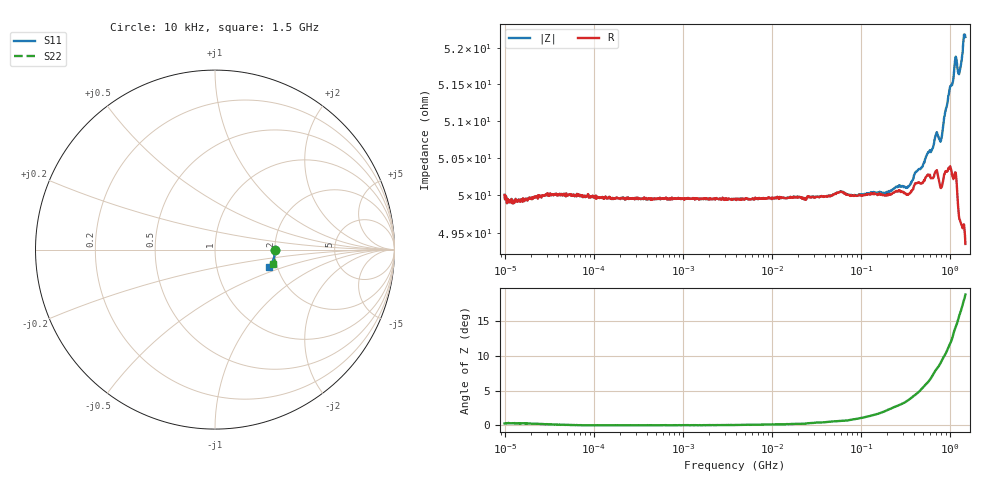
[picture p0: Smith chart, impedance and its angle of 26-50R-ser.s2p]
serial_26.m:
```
clear all
close all
clc

%% Load data
sparam = sparameters('mereni/26-50R-ser.s2p');

Z0 = sparam.Impedance;
f=sparam.Frequencies;
s_params = sparam.Parameters;

abcd_params = s2abcd(s_params, Z0);

B_param = reshape(abcd_params(1,2,:), [],1);

%% Fit
Lx = 2e-9;
Rx = 49.95;

ZL_fit = 1i*2*pi()*f*Lx+Rx;

%% Plot
fig = figure('Name','Impedance','NumberTitle','off');
loglog(f/1e9,abs(B_param)/1e3,  'r', f/1e9,abs(ZL_fit)/1e3,'b')
legend('ZNB','Model','Location', 'Best')
xlabel('f [GHz]'), ylabel('|Z| [k\Omega]')
grid on
saveas(fig, 'res/26.png')
```
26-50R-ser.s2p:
#  HZ  S  DB  R  50.00
! Rohde & Schwarz Vector Network Analyzer
! Rohde-Schwarz,ZNB8-4Port,1334333044101560,3.32
! Created: UTC 3/21/2023, 5:13:50 PM
! freq[Hz]  db:S11  ang:S11  db:S41  ang:S41  db:S14  ang:S14  db:S44  ang:S44
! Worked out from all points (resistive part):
!   1001 points, 10 kHz to 1.5 GHz, reference 50 ohm
!   read as one part in series: R = 49.9 ohm at 10.61 kHz
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10000  -9.56 -0.3  -3.52 -0.2  -3.52 -0.2  -9.51 -0.1
20689.1  -9.60 0.1  -3.54 -0.1  -3.53 -0.1  -9.59 0.1
3872983  -9.54 -0.1  -3.52 -0.0  -3.51 -0.0  -9.55 -0.1
6.765619e7  -9.55 -0.8  -3.53 -0.7  -3.53 -0.8  -9.55 -0.7
1.503508e8  -9.55 -1.9  -3.52 -1.7  -3.52 -1.8  -9.53 -1.9
2.761126e8  -9.58 -3.7  -3.54 -3.2  -3.54 -3.2  -9.53 -3.4
4.664814e8  -9.56 -6.3  -3.55 -5.4  -3.56 -5.5  -9.51 -5.6
7.337123e8  -9.62 -9.1  -3.57 -8.5  -3.59 -8.6  -9.44 -8.3
1.04908e9  -9.70 -13.0  -3.62 -12.3  -3.65 -12.4  -9.42 -11.0
1.19604e9  -9.82 -14.1  -3.64 -14.2  -3.67 -14.3  -9.41 -11.9
1.5e9  -10.02 -18.1  -3.67 -18.1  -3.72 -18.2  -9.58 -14.0
